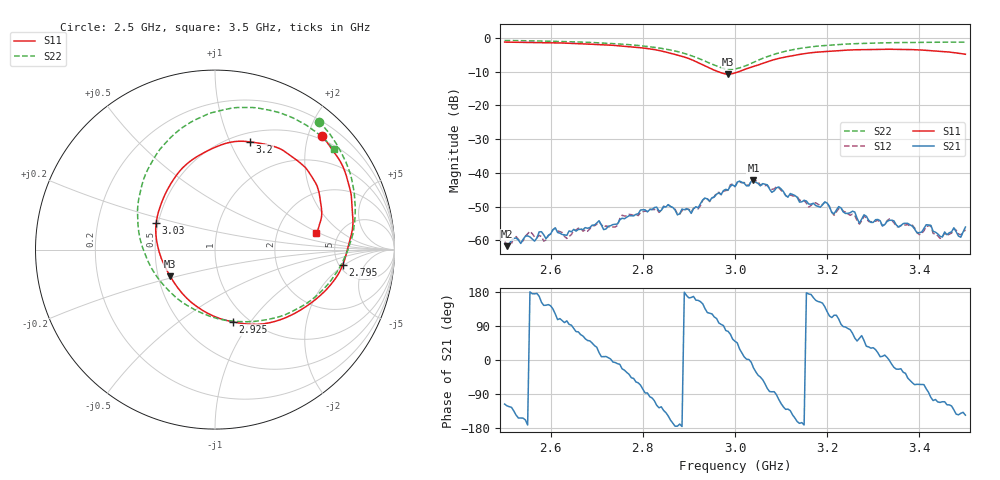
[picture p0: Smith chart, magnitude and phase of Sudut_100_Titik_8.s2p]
# Hz S RI R 50
! CMT, C1220, 16058040, 17.2.0/1
! Date: 15/08/2018 09:55:09
! Data: Format (Calibration Info)
! Freq  S11: Re/Im (F2)  S21: Re/Im (F2)  S12: Re/Im (F2)  S22: Re/Im (F2)
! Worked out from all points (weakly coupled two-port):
!   201 points, 2.5 GHz to 3.5 GHz, reference 50 ohm
!   highest |S21| = -42.18 dB at 3.04 GHz (marker M1); lowest = -61.7 dB at 2.505 GHz (marker M2)
!   lowest |S11| = -10.7 dB at 2.985 GHz (marker M3), VSWR 1.82, Z = 28.9 - j9.43 ohm
!   |S11| at or under -10 dB: 2.963 GHz to 3.008 GHz (44.61 MHz wide, 1.49 % of centre)
!   |S22| runs from -9.3 to -0.7 dB; largest |S21 - S12| = 0.00064
!   S11 on the Smith chart (normalised r, x): 2.5 GHz: 0.44, +2.25; 2.795 GHz: 5.33, -1.92; 2.925 GHz: 0.85, -0.83; 3.03 GHz: 0.49, +0.16; 3.2 GHz: 0.60, +1.19; 3.5 GHz: 3.40, +0.94
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2.5e9  0.597 0.6303  -0.000394 -0.000798  -0.000433 -0.000846  0.5779 0.7136
2.505e9  0.6032 0.6231  -0.000421 -0.000702  -0.000498 -0.000729  0.5835 0.708
2.555e9  0.6567 0.5509  -0.00112 3.28e-06  -0.00135 -4.15e-05  0.6392 0.6448
2.585e9  0.6919 0.5013  -0.000973 0.000706  -0.000817 0.000527  0.6706 0.5988
2.61e9  0.7148 0.4572  -0.000794 0.0013  -0.000815 0.00129  0.6943 0.5565
2.635e9  0.7352 0.3986  -0.000271 0.00115  -0.000102 0.00106  0.7175 0.5122
2.67e9  0.757 0.3154  0.000647 0.00129  0.000652 0.0012  0.7483 0.4389
2.795e9  0.7106 -0.0877  0.00113 -0.00258  0.000974 -0.0024  0.7646 0.0739
2.835e9  0.6087 -0.2349  -0.0016 -0.0022  -0.00143 -0.00216  0.7051 -0.0801
2.925e9  0.0988 -0.4021  -0.00313 0.00153  -0.00298 0.00135  0.2878 -0.3905
2.985e9  -0.2493 -0.1492  0.00139 0.00538  0.00102 0.00543  -0.1803 -0.2957
3e9  -0.2991 -0.049  0.00408 0.00476  0.00422 0.00459  -0.2784 -0.2067
3.03e9  -0.3279 0.1465  0.00642 0.000151  0.00653 0.000115  -0.4048 0.0151
3.04e9  -0.316 0.2069  0.00729 -0.00271  0.00758 -0.00264  -0.4247 0.0973
3.17e9  0.1005 0.6006  -0.00342 0.000934  -0.00352 0.000613  -0.0723 0.7412
3.2e9  0.1948 0.6  -0.00217 0.00283  -0.00202 0.00294  0.0395 0.7768
3.27e9  0.3812 0.5514  0.000969 0.0015  0.000921 0.00147  0.2615 0.7846
3.335e9  0.5073 0.4529  0.00198 -3.19e-05  0.00207 -0.00017  0.4153 0.7418
3.4e9  0.5754 0.3327  0.000563 -0.00117  0.000438 -0.00113  0.5318 0.6767
3.425e9  0.587 0.271  -0.00025 -0.00165  -0.000262 -0.00162  0.5704 0.6492
3.445e9  0.5937 0.2217  -0.000429 -0.00106  -0.000377 -0.000999  0.5983 0.6248
3.5e9  0.5654 0.0925  -0.0013 -0.000889  -0.00123 -0.00074  0.6629 0.5593
